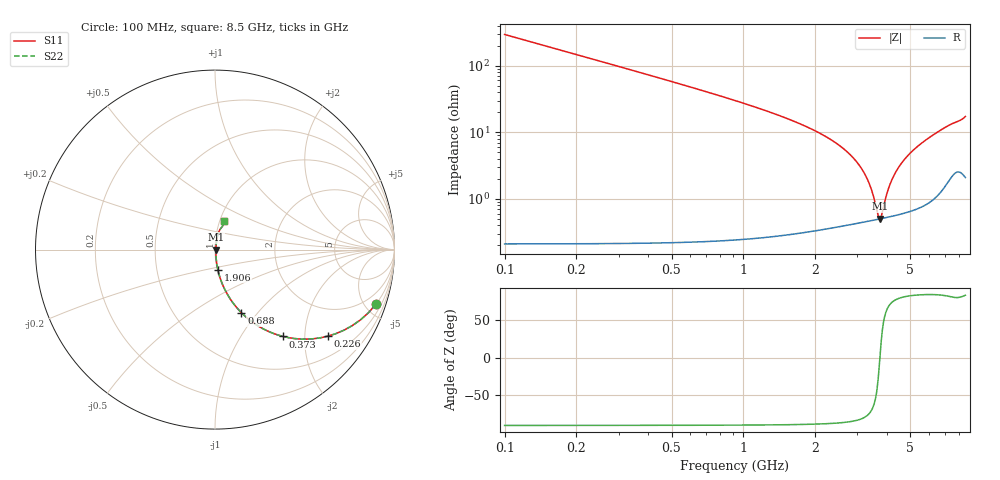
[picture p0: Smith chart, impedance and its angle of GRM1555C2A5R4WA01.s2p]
!Murata Part Number: GRM1555C2A5R4WA01
!These Parameters are Measured in Series Mode Connection
!Data Generated on Mar 30, 2021
!  o--ll--o
!Port1  Port2
!  o------o
!Operation Temp=25[degC], DC Bias Voltage=0[V]
!Freq. Start=100[MHz] Stop=9[GHz] 401[Steps]
# Hz S RI R 50
!Freq.(Hz) S11(Real) S11(Imag) S21(Real) S21(Imag) S12(Real) S12(Imag) S22(Real) S22(Imag)
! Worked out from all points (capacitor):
!   401 points, 100 MHz to 8.5 GHz, reference 50 ohm
!   read as one part in series: C = 5.4 pF near 142 MHz
!   lowest |Z| = 501 mohm at 3.733 GHz (marker M1)
!   series resonance near 3.727 GHz, so ESL is about 340 pH
!   S11 on the Smith chart (normalised r, x): 100 MHz: 1.00, -5.89; 226 MHz: 1.00, -2.60; 373 MHz: 1.00, -1.56; 688 MHz: 1.00, -0.83; 1.906 GHz: 1.01, -0.23; 8.5 GHz: 1.04, +0.34
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1e8  0.8965 -0.3043  0.1035 0.3043  0.1035 0.3043  0.8965 -0.3043
2.26e8  0.6278 -0.4826  0.3722 0.4826  0.3722 0.4826  0.6278 -0.4826
3.73e8  0.3799 -0.484  0.6201 0.484  0.6201 0.484  0.3799 -0.484
5.2e8  0.2368 -0.4231  0.7632 0.4231  0.7632 0.4231  0.2368 -0.4231
6.88e8  0.1475 -0.3518  0.8525 0.3518  0.8525 0.3518  0.1475 -0.3518
1.003e9  0.071 -0.2524  0.929 0.2524  0.929 0.2524  0.071 -0.2524
1.507e9  0.0286 -0.1583  0.9714 0.1583  0.9714 0.1583  0.0286 -0.1583
1.906e9  0.0159 -0.1119  0.9841 0.1119  0.9841 0.1119  0.0159 -0.1119
2.494e9  0.00796 -0.0645  0.992 0.0645  0.992 0.0645  0.00796 -0.0645
2.914e9  0.00571 -0.039  0.9943 0.039  0.9943 0.039  0.00571 -0.039
3.145e9  0.00513 -0.0268  0.9949 0.0268  0.9949 0.0268  0.00513 -0.0268
3.334e9  0.0049 -0.0176  0.9951 0.0176  0.9951 0.0176  0.0049 -0.0176
3.481e9  0.00485 -0.0108  0.9951 0.0108  0.9951 0.0108  0.00485 -0.0108
3.67e9  0.00492 -0.00244  0.9951 0.00244  0.9951 0.00244  0.00492 -0.00244
3.733e9  0.00498 0.000243  0.995 -0.000243  0.995 -0.000243  0.00498 0.000243
3.796e9  0.00505 0.00288  0.9949 -0.00288  0.9949 -0.00288  0.00505 0.00288
4.048e9  0.00547 0.0131  0.9945 -0.0131  0.9945 -0.0131  0.00547 0.0131
4.3e9  0.00608 0.0227  0.9939 -0.0227  0.9939 -0.0227  0.00608 0.0227
4.867e9  0.00813 0.0431  0.9919 -0.0431  0.9919 -0.0431  0.00813 0.0431
5.707e9  0.013 0.0713  0.987 -0.0713  0.987 -0.0713  0.013 0.0713
7.114e9  0.0304 0.1158  0.9696 -0.1158  0.9696 -0.1158  0.0304 0.1158
8.5e9  0.0474 0.16  0.9526 -0.16  0.9526 -0.16  0.0474 0.16
